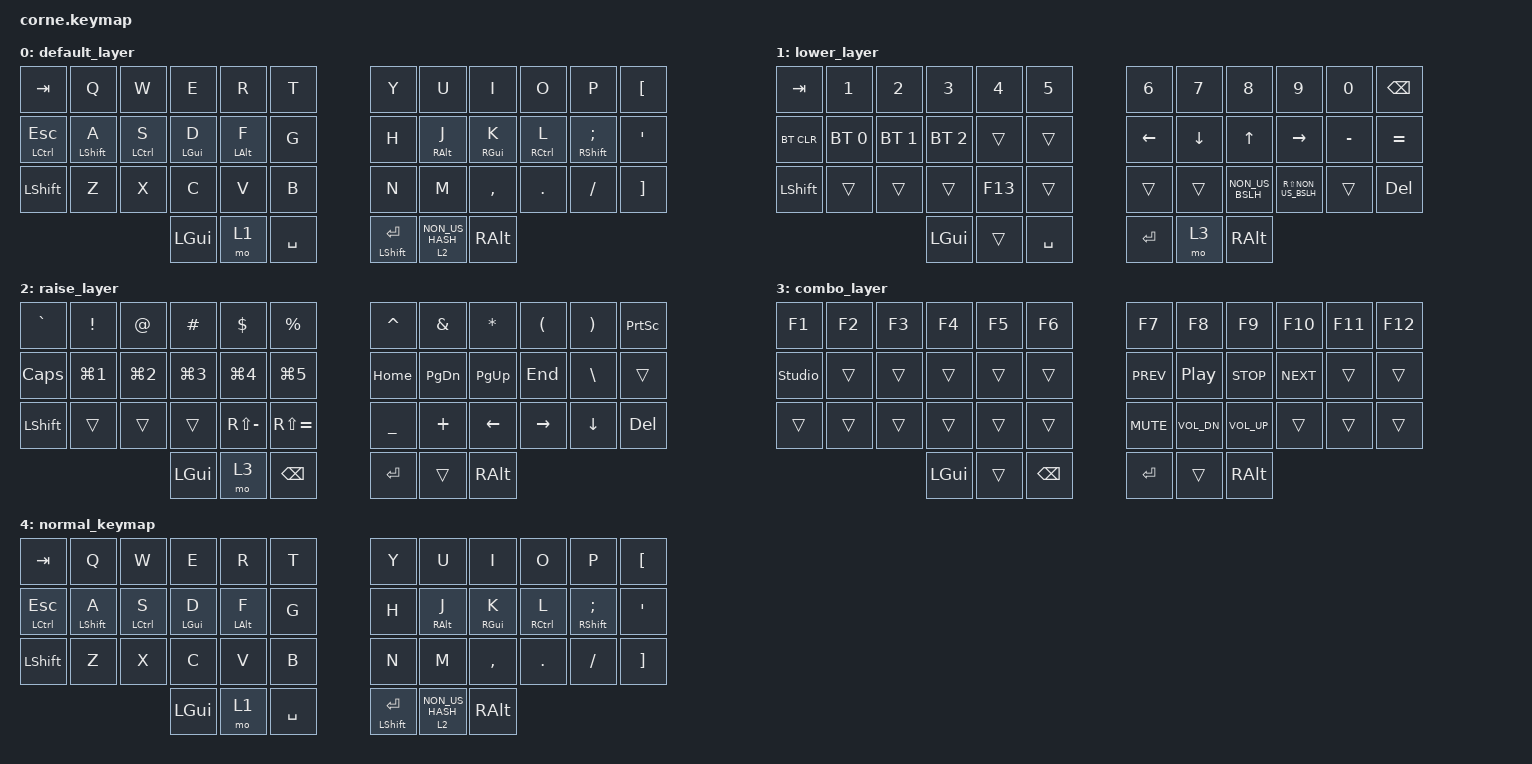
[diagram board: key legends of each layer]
/*
 * Copyright (c) 2020 The ZMK Contributors
 *
 * SPDX-License-Identifier: MIT
 */

#include <behaviors.dtsi>
#include <dt-bindings/zmk/keys.h>
#include <dt-bindings/zmk/bt.h>

/ {
	behaviors {
	    hm: homerow_mods {            
	    compatible = "zmk,behavior-hold-tap";            
	    label = "HOMEROW_MODS";            
	    #binding-cells = <2>;            
	    tapping-term-ms = <250>;            
	    quick-tap-ms = <0>;            
	    flavor = "tap-preferred";            
	    bindings = <&kp>, <&kp>;        
	    };
	};
        keymap {
                compatible = "zmk,keymap";

                default_layer {
// -----------------------------------------------------------------------------------------
// |  TAB |  Q  |  W  |  E  |  R  |  T  |   |  Y  |  U   |  I  |  O  |  P  |  [   |
// | CTRL |  A  |  S  |  D  |  F  |  G  |   |  H  |  J   |  K  |  L  |  ;  |  '   |
// | SHFT |  Z  |  X  |  C  |  V  |  B  |   |  N  |  M   |  ,  |  .  |  /  |  ]   |
//                    | GUI | LWR | SPC |   | ENT | RSE  | ALT |
                        bindings = <
   &kp TAB   	   &kp Q       &kp W       &kp E      &kp R      &kp T   &kp Y &kp U      &kp I      &kp O       &kp P          &kp LBKT
   &hm LCTRL ESC   &hm LSHFT A &hm LCTRL S &hm LGUI D &hm LALT F &kp G   &kp H &hm RALT J &hm RGUI K &hm RCTRL L &hm RSHFT SEMI &kp SQT
   &kp LSHFT 	   &kp Z       &kp X       &kp C      &kp V      &kp B   &kp N &kp M      &kp COMMA  &kp DOT     &kp FSLH       &kp RBKT
                                   &kp LGUI   &mo 1    &kp SPACE   &mt LSHFT RET  &lt 2 NON_US_HASH &kp RALT
                        >;
                };
                lower_layer {
// -----------------------------------------------------------------------------------------
// |  TAB |  1  |  2  |  3  |  4  |  5  |   |  6  |  7  |  8  |  9  |  0  | BKSP |
// | BTCLR| BT1 | BT2 | BT3 | BT4 | BT5 |   | LFT | DWN |  UP | RGT | +?  |  \`  |
// | SHFT |     |     |     | F13 |     |   |     |     |     |  <  |  >  | DEL  |
//                    | GUI |     | SPC |   | ENT |     | ALT |
                        bindings = <
   &kp TAB    &kp N1       &kp N2       &kp N3       &kp N4 &kp N5 &kp N6   &kp N7   &kp N8          &kp N9              &kp N0    &kp BSPC
   &bt BT_CLR &bt BT_SEL 0 &bt BT_SEL 1 &bt BT_SEL 2 &trans &trans &kp LEFT &kp DOWN &kp UP          &kp RIGHT           &kp MINUS &kp EQUAL
   &kp LSHFT  &trans       &trans       &trans       &kp F13 &trans &trans   &trans   &kp NON_US_BSLH &kp RS(NON_US_BSLH) &trans    &kp DEL
                          	        &kp LGUI &trans &kp SPACE      &kp RET &mo 3 &kp RALT
                        >;
                };

                raise_layer {
// -----------------------------------------------------------------------------------------
// | GRAVE|  !  |  @  |  #  |  $  |  %  |   |  ^  |  &  |  *  |  (  |  )  | PRSCR|
// | CAPS |LG(1)|     |     |LG(5)|     |   |HOME | PGDN|PG UP| END |  UP |      |
// | SHFT |     |     |     |     |     |   |  ?  | `   | LEFT|RIGHT| DOWN| DEL  |
//                    | GUI |     | BKSP|   | ENT |     | ALT |
                        bindings = <
   &kp GRAVE &kp EXCL   &kp AT     &kp HASH   &kp DLLR      &kp PRCNT     &kp CARET &kp AMPS  &kp STAR  &kp LPAR  &kp RPAR &kp PSCRN
   &kp CAPS  &kp LG(N1) &kp LG(N2) &kp LG(N3) &kp LG(N4)    &kp LG(N5)    &kp HOME  &kp PG_DN &kp PG_UP &kp END   &kp BSLH &trans
   &kp LSHFT &trans     &trans     &trans     &kp RS(MINUS) &kp RS(EQUAL) &kp UNDER &kp PLUS  &kp LEFT  &kp RIGHT &kp DOWN &kp DEL
                    	     &kp LGUI &mo 3   &kp BSPC   &kp RET   &trans    &kp RALT
                        >;
                };

		combo_layer {
// -----------------------------------------------------------------------------------------
// | F1   |  F2 |  F3 |  F4 |  F5 |  F6 |   |  F7 |  F8 |  F9 | F10 | F11 | F12  |
// | StUn |     |     |     |     |     |   | Prev|Play | STP | Next|     |      |
// |      |     |     |     |     |     |   | Mute|Vol D|Vol U|     |     |      |
//                    |     |     |     |   |     |     |     |
                        bindings = <
   &kp F1 &kp F2 &kp F3 &kp F4 &kp F5 &kp F6 &kp F7     &kp F8       &kp F9       &kp F10     &kp F11 &kp F12
   &studio_unlock &trans &trans &trans &trans &trans &kp C_PREV &kp C_PP     &kp C_STOP   &kp C_NEXT  &trans  &trans
   &trans &trans &trans &trans &trans &trans &kp K_MUTE &kp K_VOL_DN &kp K_VOL_UP &trans      &trans  &trans
                    	     &kp LGUI &trans  &kp BSPC   &kp RET   &trans    &kp RALT
                        >;
                };

                normal_keymap {
// -----------------------------------------------------------------------------------------
// |  TAB |  Q  |  W  |  E  |  R  |  T  |   |  Y  |  U   |  I  |  O  |  P  |  [   |
// | CTRL |  A  |  S  |  D  |  F  |  G  |   |  H  |  J   |  K  |  L  |  ;  |  '   |
// | SHFT |  Z  |  X  |  C  |  V  |  B  |   |  N  |  M   |  ,  |  .  |  /  |  ]   |
//                    | GUI | LWR | SPC |   | ENT | RSE  | ALT |
                        bindings = <
   &kp TAB   	   &kp Q       &kp W       &kp E      &kp R      &kp T   &kp Y &kp U      &kp I      &kp O       &kp P          &kp LBKT
   &hm LCTRL ESC   &hm LSHFT A &hm LCTRL S &hm LGUI D &hm LALT F &kp G   &kp H &hm RALT J &hm RGUI K &hm RCTRL L &hm RSHFT SEMI &kp SQT
   &kp LSHFT 	   &kp Z       &kp X       &kp C      &kp V      &kp B   &kp N &kp M      &kp COMMA  &kp DOT     &kp FSLH       &kp RBKT
                                   &kp LGUI   &mo 1    &kp SPACE   &mt LSHFT RET  &lt 2 NON_US_HASH &kp RALT
                        >;
                };

        	extra1 {
            		status = "reserved";
        	};
        };
};
